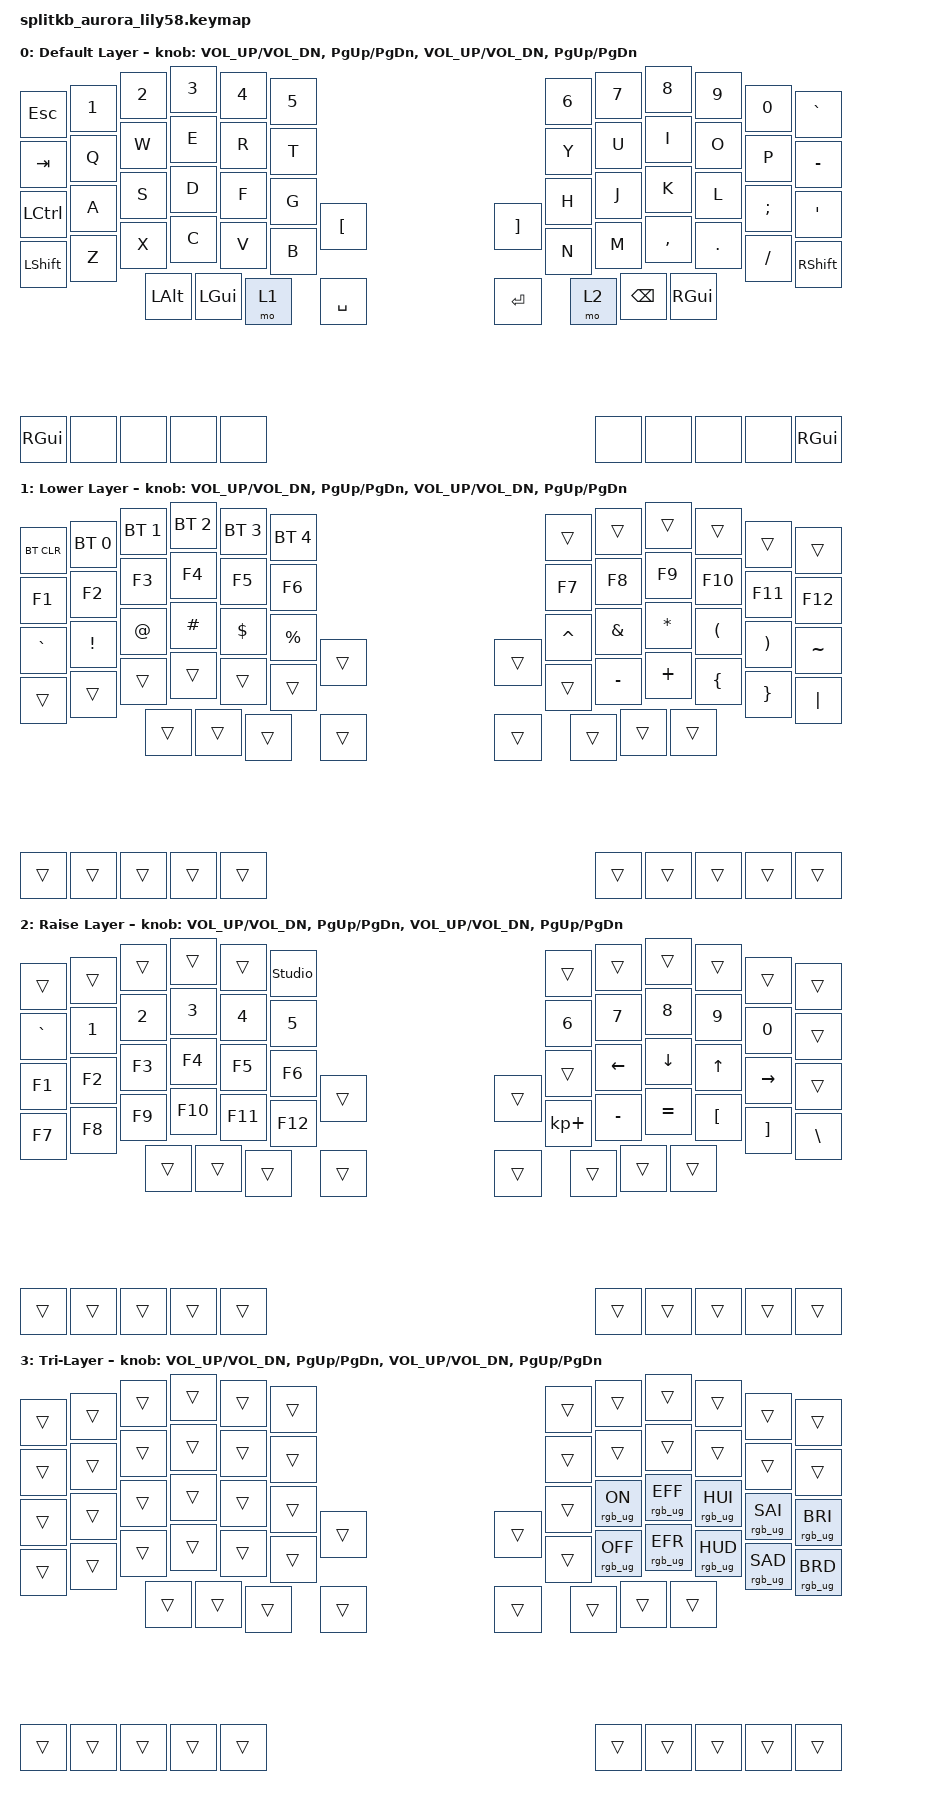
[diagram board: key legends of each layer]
/*
 * Copyright (c) 2022 The ZMK Contributors
 *
 * SPDX-License-Identifier: MIT
 */

#include <behaviors.dtsi>
#include <dt-bindings/zmk/keys.h>
#include <dt-bindings/zmk/bt.h>
#include <dt-bindings/zmk/rgb.h>

&led_strip {
    // chain-length = <5>;  // Uncomment if using only underglow LEDs
    chain-length = <34>;
    // chain-length = <28>; // Uncomment if using only per-key LEDs.
};

/ {
    conditional_layers {
        compatible = "zmk,conditional-layers";
        tri_layer {
            if-layers = <1 2>;
            then-layer = <3>;
        };
    };
};

/ {
    keymap {
        compatible = "zmk,keymap";

        default_layer {
            display-name = "Default Layer";
// ------------------------------------------------------------------------------------------------------------
// |  ESC  |  1  |  2  |  3   |  4   |  5   |                   |  6   |  7    |  8    |  9   |   0   |   `   |
// |  TAB  |  Q  |  W  |  E   |  R   |  T   |                   |  Y   |  U    |  I    |  O   |   P   |   -   |
// |  CTRL |  A  |  S  |  D   |  F   |  G   |                   |  H   |  J    |  K    |  L   |   ;   |   '   |
// | SHIFT |  Z  |  X  |  C   |  V   |  B   |   "["  |  |  "]"  |  N   |  M    |  ,    |  .   |   /   | SHIFT |
//                     | ALT  | GUI  | LOWER|  SPACE |  | ENTER | RAISE| BSPC  | GUI   |
            bindings = <
&kp ESC   &kp N1 &kp N2 &kp N3   &kp N4   &kp N5                     &kp N6 &kp N7   &kp N8    &kp N9  &kp N0   &kp GRAVE
&kp TAB   &kp Q  &kp W  &kp E    &kp R    &kp T                      &kp Y  &kp U    &kp I     &kp O   &kp P    &kp MINUS
&kp LCTRL &kp A  &kp S  &kp D    &kp F    &kp G                      &kp H  &kp J    &kp K     &kp L   &kp SEMI &kp SQT
&kp LSHFT &kp Z  &kp X  &kp C    &kp V    &kp B  &kp LBKT   &kp RBKT &kp N  &kp M    &kp COMMA &kp DOT &kp FSLH &kp RSHFT
                        &kp LALT &kp LGUI &mo 1  &kp SPACE  &kp RET  &mo 2  &kp BSPC &kp RGUI

&kp RGUI &none &none &none &none                                                        &none &none &none &none &kp RGUI
            >;
            sensor-bindings = <&inc_dec_kp C_VOL_UP C_VOL_DN &inc_dec_kp PG_UP PG_DN &inc_dec_kp C_VOL_UP C_VOL_DN &inc_dec_kp PG_UP PG_DN>;
        };

        lower_layer {
            display-name = "Lower Layer";
// ------------------------------------------------------------------------------------------------------------
// | BTCLR | BT1 | BT2 |  BT3 |  BT4 |  BT5 |                   |      |       |       |      |       |       |
// |  F1   |  F2 |  F3 |  F4  |  F5  |  F6  |                   |  F7  |  F8   |  F9   |  F10 |  F11  |  F12  |
// |   `   |  !  |  @  |  #   |  $   |  %   |                   |  ^   |  &    |  *    |  (   |   )   |   ~   |
// | STUDIO|     |     |      |      |      |        |  |       |      |  _    |  +    |  {   |   }   |  "|"  |
//                     |      |      |      |        |  |       |      |       |       |
            bindings = <
&bt BT_CLR &bt BT_SEL 0 &bt BT_SEL 1 &bt BT_SEL 2 &bt BT_SEL 3 &bt BT_SEL 4              &trans    &trans    &trans   &trans    &trans    &trans
&kp F1     &kp F2       &kp F3       &kp F4       &kp F5       &kp F6                    &kp F7    &kp F8    &kp F9   &kp F10   &kp F11   &kp F12
&kp GRAVE  &kp EXCL     &kp AT       &kp HASH     &kp DOLLAR   &kp PRCNT                 &kp CARET &kp AMPS  &kp STAR &kp LPAR  &kp RPAR  &kp TILDE
&trans     &trans       &trans       &trans       &trans       &trans    &trans   &trans &trans    &kp MINUS &kp PLUS &kp LBRC  &kp RBRC  &kp PIPE
                                     &trans       &trans       &trans    &trans   &trans &trans    &trans    &trans

&trans &trans &trans &trans &trans                                                                                &trans &trans &trans &trans &trans
            >;
            sensor-bindings = <&inc_dec_kp C_VOL_UP C_VOL_DN &inc_dec_kp PG_UP PG_DN &inc_dec_kp C_VOL_UP C_VOL_DN &inc_dec_kp PG_UP PG_DN>;
        };

        raise_layer {
            display-name = "Raise Layer";
// ------------------------------------------------------------------------------------------------------------
// |       |     |     |      |      |STUDIO|                   |      |       |       |      |       |       |
// |   `   |  1  |  2  |  3   |  4   |  5   |                   |  6   |   7   |   8   |  9   |   0   |       |
// |   F1  |  F2 |  F3 |  F4  |  F5  |  F6  |                   |      |   <-  |   v   |  ^   |  ->   |       |
// |   F7  |  F8 |  F9 |  F10 |  F11 |  F12 |        |  |       |  +   |   -   |   =   |  [   |   ]   |   \   |
//                     |      |      |      |        |  |       |      |       |       |
            bindings = <
&trans    &trans &trans &trans  &trans  &studio_unlock               &trans      &trans    &trans    &trans   &trans    &trans
&kp GRAVE &kp N1 &kp N2 &kp N3  &kp N4  &kp N5                       &kp N6      &kp N7    &kp N8    &kp N9   &kp N0    &trans
&kp F1    &kp F2 &kp F3 &kp F4  &kp F5  &kp F6                       &trans      &kp LEFT  &kp DOWN  &kp UP   &kp RIGHT &trans
&kp F7    &kp F8 &kp F9 &kp F10 &kp F11 &kp F12   &trans   &trans    &kp KP_PLUS &kp MINUS &kp EQUAL &kp LBKT &kp RBKT  &kp BSLH
                        &trans  &trans  &trans    &trans   &trans    &trans      &trans    &trans

&trans &trans &trans &trans &trans                                                          &trans &trans &trans &trans &trans
            >;
            sensor-bindings = <&inc_dec_kp C_VOL_UP C_VOL_DN &inc_dec_kp PG_UP PG_DN &inc_dec_kp C_VOL_UP C_VOL_DN &inc_dec_kp PG_UP PG_DN>;
        };

        tri_layer {
            display-name = "Tri-Layer";
// ------------------------------------------------------------------------------------------------------------
// |     |     |     |     |     |     |                   |     |       |       |       |       |       |
// |     |     |     |     |     |     |                   |     |       |       |       |       |       |
// |     |     |     |     |     |     |                   |     | RGB_ON|RGB_EFF|RGB_HUI|RGB_SAI|RGB_BRI|
// |     |     |     |     |     |     |        |  |       |     |RGB_OFF|RGB_EFR|RGB_HUD|RGB_SAD|RGB_BRD|
//                   |     |     |     |        |  |       |     |       |       |
            bindings = <
&trans &trans &trans &trans &trans &trans                 &trans &trans          &trans          &trans          &trans          &trans
&trans &trans &trans &trans &trans &trans                 &trans &trans          &trans          &trans          &trans          &trans
&trans &trans &trans &trans &trans &trans                 &trans &rgb_ug RGB_ON  &rgb_ug RGB_EFF &rgb_ug RGB_HUI &rgb_ug RGB_SAI &rgb_ug RGB_BRI
&trans &trans &trans &trans &trans &trans &trans   &trans &trans &rgb_ug RGB_OFF &rgb_ug RGB_EFR &rgb_ug RGB_HUD &rgb_ug RGB_SAD &rgb_ug RGB_BRD
                     &trans &trans &trans &trans   &trans &trans &trans &trans

&trans &trans &trans &trans &trans                                                                   &trans &trans &trans &trans &trans
            >;
            sensor-bindings = <&inc_dec_kp C_VOL_UP C_VOL_DN &inc_dec_kp PG_UP PG_DN &inc_dec_kp C_VOL_UP C_VOL_DN &inc_dec_kp PG_UP PG_DN>;
        };
    };
};
